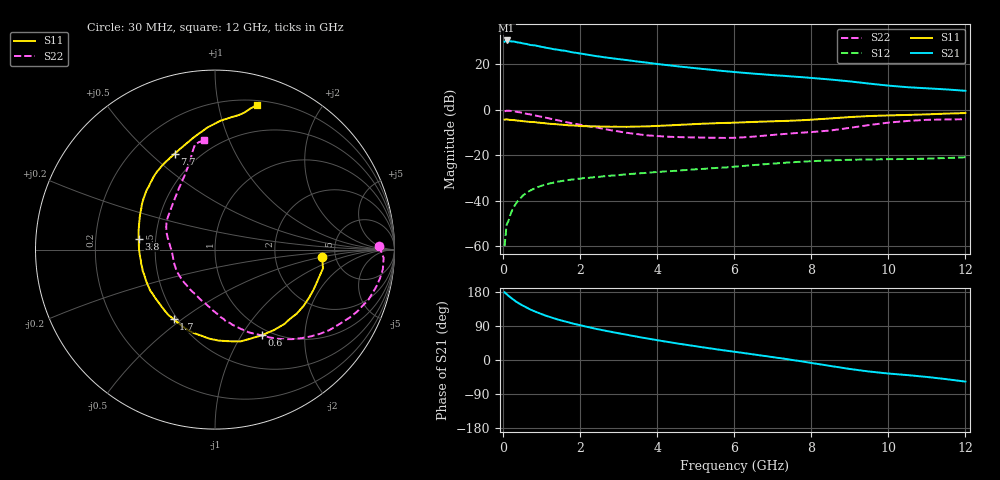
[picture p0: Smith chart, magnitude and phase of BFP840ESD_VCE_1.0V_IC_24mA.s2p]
! Infineon Technologies  Discrete & RF Semiconductors
! BFP840ESD
! VCE =  1.0 V,  IC =  24 mA
! Common Emitter S-Parameters:  May 2012
# GHz  S  MA  R  50
!  f  S11  S21  S12  S22
! GHz  MAG  ANG  MAG  ANG  MAG  ANG  MAG  ANG
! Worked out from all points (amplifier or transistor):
!   93 points, 30 MHz to 12 GHz, reference 50 ohm
!   highest |S21| = 30.3 dB at 80 MHz (marker M1)
!   |S21| within 3 dB of that: start of sweep to 1.051 GHz
!   unconditionally stable (mu >= 1): start of sweep to 46.71 MHz; 3.881 GHz to 9.964 GHz
!   at 1.1 GHz: K = 0.44, MSG = 30.1 dB, |S12| = -33.0 dB
!   at 4.2 GHz: K = 1.03, MAG = 22.4 dB, |S12| = -27.2 dB
!   at 12 GHz: K = 0.78, MSG = 14.6 dB, |S12| = -21.0 dB
!   S11 on the Smith chart (normalised r, x): 30 MHz: 3.92, -0.50; 600 MHz: 0.91, -1.24; 1.7 GHz: 0.48, -0.47; 3.8 GHz: 0.40, +0.06; 7.7 GHz: 0.37, +0.60; 12 GHz: 0.24, +1.31
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0.03  0.599 -3.9  30.91 178.5  0.001 87.2  0.9137 1.3
0.08  0.6105 -9.9  32.85 173.9  0.0029 76.9  0.9407 -2.8
0.13  0.5977 -16.4  31.62 169.6  0.0036 85.0  0.9416 -6.6
0.23  0.5882 -27.6  31.24 161.5  0.0063 77.6  0.9226 -12.8
0.33  0.5786 -38.1  30.28 153.9  0.0087 74.5  0.8985 -18.3
0.43  0.5666 -47.1  29.4 147.7  0.011 70.8  0.8665 -23.2
0.6  0.5439 -61.2  27.51 138.5  0.0149 65.2  0.8071 -31.0
0.7  0.5333 -69.4  26.11 133.2  0.0167 62.7  0.7795 -35.1
0.8  0.5306 -74.5  25.7 128.8  0.0184 60.0  0.75 -38.7
1.1  0.4977 -93.4  22.81 117.0  0.0225 54.0  0.6608 -49.0
1.4  0.474 -108.1  20.62 107.3  0.0259 48.7  0.5838 -57.3
1.7  0.4506 -120.8  18.69 99.1  0.0284 45.0  0.5144 -65.4
2.1  0.4309 -136.8  16.42 89.2  0.0314 41.1  0.4445 -74.5
2.9  0.4198 -163.3  13.08 72.2  0.0358 37.0  0.3405 -91.7
3.8  0.4294 171.8  10.5 55.7  0.0415 33.5  0.2686 -116.2
4.1  0.441 164.4  9.766 50.5  0.0431 32.6  0.2582 -125.1
5  0.4805 147.6  8.057 36.2  0.0488 29.4  0.2443 -150.6
6.1  0.5187 133.6  6.547 20.4  0.0565 26.0  0.2422 -177.9
7.7  0.5798 112.8  5.174 -2.9  0.0711 15.5  0.3083 151.2
8.5  0.6384 100.4  4.555 -15.8  0.0766 8.5  0.3473 132.6
10.5  0.7613 79.9  3.091 -39.9  0.082 -6.4  0.5615 102.8
12  0.8365 73.7  2.578 -57.0  0.0895 -13.6  0.6123 95.6
